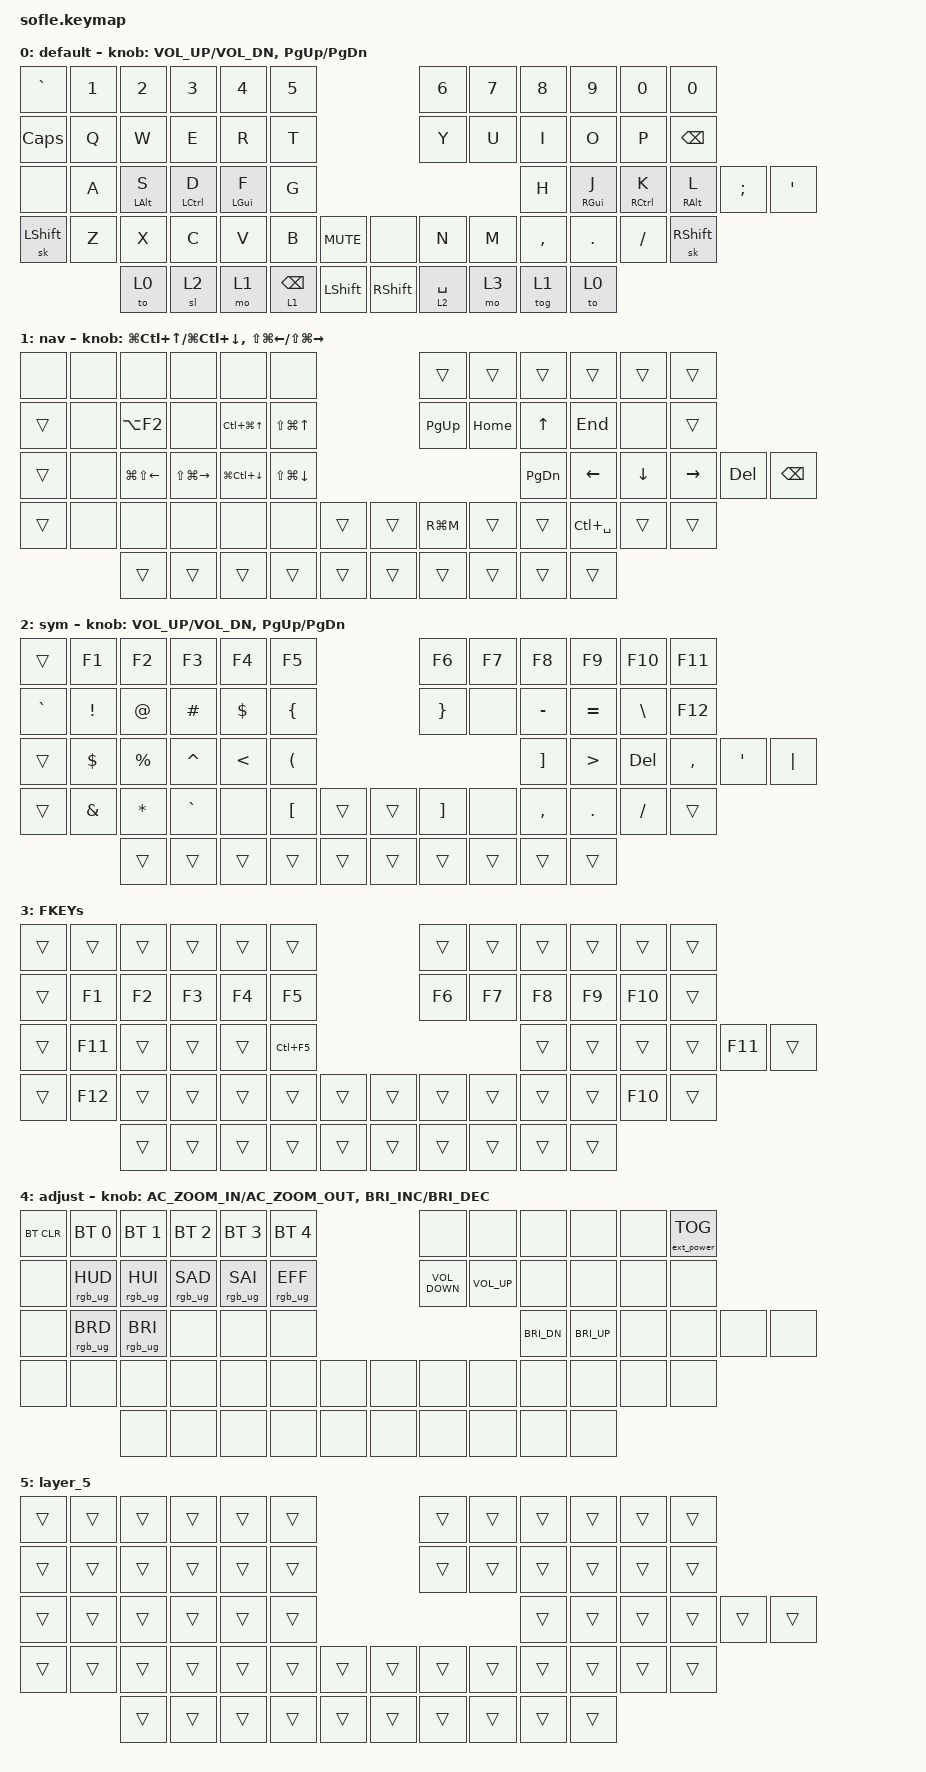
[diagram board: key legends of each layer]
/*
 * Copyright (c) 2020 The ZMK Contributors
 *
 * SPDX-License-Identifier: MIT
 */

#include <behaviors.dtsi>
#include <dt-bindings/zmk/bt.h>
#include <dt-bindings/zmk/ext_power.h>
#include <dt-bindings/zmk/keys.h>
#include <dt-bindings/zmk/rgb.h>

#define BASE 0
#define SYM 1
#define NAV 2
#define ADJUST 3
#define WMNAV 4
#define EXTRA2 5

/* Sofle key positions. Hold triggers are the opposite hand plus thumbs, so
 * same-hand rolls never fire a modifier. */
#define KEYS_L 0 1 2 3 4 5 12 13 14 15 16 17 24 25 26 27 28 29 36 37 38 39 40 41 42
#define KEYS_R 6 7 8 9 10 11 18 19 20 21 22 23 30 31 32 33 34 35 43 44 45 46 47 48 49
#define THUMBS 50 51 52 53 54 55 56 57 58 59

&lt {
    flavor = "balanced";
    tapping-term-ms = <200>;
    quick-tap-ms = <175>;
};

/ {
    behaviors {
        hml: hml {
            compatible = "zmk,behavior-hold-tap";
            #binding-cells = <2>;
            flavor = "balanced";
            tapping-term-ms = <280>;
            quick-tap-ms = <175>;
            require-prior-idle-ms = <150>;
            hold-trigger-key-positions = <KEYS_R THUMBS>;
            hold-trigger-on-release;
            bindings = <&kp>, <&kp>;
        };

        hmr: hmr {
            compatible = "zmk,behavior-hold-tap";
            #binding-cells = <2>;
            flavor = "balanced";
            tapping-term-ms = <280>;
            quick-tap-ms = <175>;
            require-prior-idle-ms = <150>;
            hold-trigger-key-positions = <KEYS_L THUMBS>;
            hold-trigger-on-release;
            bindings = <&kp>, <&kp>;
        };
    };

    // Activate ADJUST layer by pressing raise and lower

    conditional_layers {
        compatible = "zmk,conditional-layers";

        adjust_layer {
            if-layers = <2 1>;
            then-layer = <4>;
        };
    };

    combos {
        compatible = "zmk,combos";

        tabmod {
            bindings = <&kp TAB>;
            key-positions = <26 27 28>;
            timeout-ms = <200>;
        };

        entermod {
            bindings = <&kp ENTER>;
            key-positions = <31 32 33>;
            timeout-ms = <200>;
        };

        escapemod {
            bindings = <&kp ESCAPE>;
            key-positions = <14 15>;
            timeout-ms = <200>;
        };

        bkspcmod {
            bindings = <&kp BACKSPACE>;
            key-positions = <19 20 21>;
            timeout-ms = <200>;
        };
    };

    keymap {
        compatible = "zmk,keymap";

        default_layer {
            display-name = "default";

            // ------------------------------------------------------------------------------------------------------------
            // |   `   |  1  |  2  |  3   |  4   |  5   |                   |  6   |  7    |  8    |  9   |   0   |   0   |
            // |  ESC  |  Q  |  W  |  E   |  R   |  T   |                   |  Y   |  U    |  I    |  O   |   P   | BKSPC |
            // |  TAB  |  A  |  S  |  D   |  F   |  G   |                   |  H   |  J    |  K    |  L   |   ;   |   '   |
            // | SHIFT |  Z  |  X  |  C   |  V   |  B   |  MUTE  |  |       |  N   |  M    |  ,    |  .   |   /   | SHIFT |
            //               | GUI | ALT  | CTRL | LOWER|  ENTER |  | SPACE | RAISE| CTRL  | ALT   | GUI  |

            bindings = <
&kp GRAVE  &kp N1  &kp N2          &kp N3       &kp N4          &kp N5                                         &kp N6       &kp N7      &kp N8       &kp N9           &kp N0    &kp N0
&kp CAPS   &kp Q   &kp W           &kp E        &kp R           &kp T                                          &kp Y        &kp U       &kp I        &kp O            &kp P     &kp BSPC
&none      &kp A   &hml LEFT_ALT S     &hml LCTRL D     &hml LEFT_GUI F     &kp G                                          &kp H        &hmr RGUI J     &hmr RCTRL K     &hmr RIGHT_ALT L      &kp SEMI  &kp SQT
&sk LSHFT  &kp Z   &kp X           &kp C        &kp V           &kp B            &kp C_MUTE        &none       &kp N        &kp M       &kp COMMA    &kp DOT          &kp FSLH  &sk RSHFT
                   &to 0           &sl 2        &mo 1           &lt 1 BACKSPACE  &kp LEFT_SHIFT    &kp RSHIFT  &lt 2 SPACE  &mo 3       &tog 1       &to 0
            >;

            sensor-bindings = <&inc_dec_kp C_VOL_UP C_VOL_DN &inc_dec_kp PG_UP PG_DN>;
        };

        nav {
            display-name = "nav";

            // ------------------------------------------------------------------------------------------------------------
            // | BTCLR | BT1  | BT2  |  BT3  |  BT4  |  BT5 |                |      |      |       |      |       |       |
            // |       | INS  | PSCR | GUI   |       |      |                | PGUP |      |   ^   |      |       |       |
            // |       | ALT  | CTRL | SHIFT |       | CAPS |                | PGDN |   <- |   v   |  ->  |  DEL  | BKSPC |
            // |       | UNDO | CUT  | COPY  | PASTE |      |      |  |      |      |      |       |      |       |       |
            //                |      |       |       |      |      |  |      |      |      |       |      |

            bindings = <
&none   &none  &none             &none              &none                 &none                                   &trans     &trans    &trans    &trans         &trans   &trans
&trans  &none  &kp LA(F2)        &none              &kp LC(LG(UP_ARROW))  &kp LS(LG(UP_ARROW))                    &kp PG_UP  &kp HOME  &kp UP    &kp END        &none    &trans
&trans  &none  &kp LG(LS(LEFT))  &kp LS(LG(RIGHT))  &kp LG(LC(DOWN))      &kp LS(LG(DOWN))                        &kp PG_DN  &kp LEFT  &kp DOWN  &kp RIGHT      &kp DEL  &kp BSPC
&trans  &none  &none             &none              &none                 &none                 &trans    &trans  &kp RG(M)  &trans    &trans    &kp LC(SPACE)  &trans   &trans
               &trans            &trans             &trans                &trans                &trans    &trans  &trans     &trans    &trans    &trans
            >;

            sensor-bindings =
                <&inc_dec_kp LG(LC(UP_ARROW)) LG(LC(DOWN))>,
                <&inc_dec_kp LS(LG(LEFT_ARROW)) LS(LG(RIGHT))>;
        };

        sym {
            display-name = "sym";

            // TODO: Some binds are waiting for shifted keycode support.
            // ------------------------------------------------------------------------------------------------------------
            // |       |  F1 |  F2 |  F3  |  F4  |  F5  |                   |  F6  |  F7   |  F8   |  F9  |  F10  |  F11  |
            // |   `   |  1  |  2  |  3   |  4   |  5   |                   |  6   |  7    |  8    |  9   |   0   |  F12  |
            // |       |  !  |  @  |  #   |  $   |  %   |                   |  ^   |  &    |  *    |  (   |   )   |   |   |
            // |       |  =  |  -  |  +   |  {   |  }   |        |  |       |  [   |  ]    |  ;    |  :   |   \   |       |
            //               |     |      |      |      |        |  |       |      |       |       |      |

            bindings = <
&trans     &kp F1           &kp F2        &kp F3     &kp F4         &kp F5                                  &kp F6             &kp F7            &kp F8      &kp F9      &kp F10        &kp F11
&kp GRAVE  &kp EXCLAMATION  &kp AT_SIGN   &kp HASH   &kp DOLLAR     &kp LEFT_BRACE                          &kp RIGHT_BRACE    &none             &kp MINUS   &kp EQUAL   &kp BACKSLASH  &kp F12
&trans     &kp DOLLAR       &kp PERCENT   &kp CARET  &kp LESS_THAN  &kp LEFT_PARENTHESIS                    &kp RBKT           &kp GREATER_THAN  &kp DELETE  &kp COMMA   &kp SQT        &kp PIPE
&trans     &kp AMPERSAND    &kp ASTERISK  &kp GRAVE  &none          &kp LEFT_BRACKET      &trans    &trans  &kp RIGHT_BRACKET  &none             &kp COMMA   &kp PERIOD  &kp SLASH      &trans
                            &trans        &trans     &trans         &trans                &trans    &trans  &trans             &trans            &trans      &trans
            >;

            sensor-bindings = <&inc_dec_kp C_VOL_UP C_VOL_DN &inc_dec_kp PG_UP PG_DN>;
        };

        FKEYS {
            bindings = <
&trans  &trans   &trans  &trans  &trans  &trans                        &trans  &trans  &trans  &trans  &trans   &trans
&trans  &kp F1   &kp F2  &kp F3  &kp F4  &kp F5                        &kp F6  &kp F7  &kp F8  &kp F9  &kp F10  &trans
&trans  &kp F11  &trans  &trans  &trans  &kp LC(F5)                    &trans  &trans  &trans  &trans  &kp F11  &trans
&trans  &kp F12  &trans  &trans  &trans  &trans      &trans    &trans  &trans  &trans  &trans  &trans  &kp F10  &trans
                 &trans  &trans  &trans  &trans      &trans    &trans  &trans  &trans  &trans  &trans
            >;

            label = "FKEYs";
        };

        adjust_layer {
            // ----------------------------------------------------------------------------------------------------------------------------
            // | BTCLR  |  BT1    |  BT2    |   BT3   |   BT4   |   BT5   |                  |      |      |       |      |       |       |
            // | EXTPWR | RGB_HUD | RGB_HUI | RGB_SAD | RGB_SAI | RGB_EFF |                  |      |      |       |      |       |       |
            // |        | RGB_BRD | RGB_BRI |         |         |         |                  |      |      |       |      |       |       |
            // |        |         |         |         |         |         | RGB_TOG | |      |      |      |       |      |       |       |
            //                    |         |         |         |         |         | |      |      |      |       |      |

            display-name = "adjust";
            bindings = <
&bt BT_CLR  &bt BT_SEL 0     &bt BT_SEL 1     &bt BT_SEL 2     &bt BT_SEL 3     &bt BT_SEL 4                     &none              &none            &none  &none  &none  &ext_power EP_TOG
&none       &rgb_ug RGB_HUD  &rgb_ug RGB_HUI  &rgb_ug RGB_SAD  &rgb_ug RGB_SAI  &rgb_ug RGB_EFF                  &kp C_VOLUME_DOWN  &kp C_VOLUME_UP  &none  &none  &none  &none
&none       &rgb_ug RGB_BRD  &rgb_ug RGB_BRI  &none            &none            &none                            &kp C_BRI_DN       &kp C_BRI_UP     &none  &none  &none  &none
&none       &none            &none            &none            &none            &none            &none    &none  &none              &none            &none  &none  &none  &none
                             &none            &none            &none            &none            &none    &none  &none              &none            &none  &none
            >;

            sensor-bindings =
                <&inc_dec_kp C_AC_ZOOM_IN C_AC_ZOOM_OUT>,
                <&inc_dec_kp C_BRIGHTNESS_INC C_BRIGHTNESS_DEC>;
        };

        layer_5 {
            bindings = <
&trans  &trans  &trans  &trans  &trans  &trans                    &trans  &trans  &trans  &trans  &trans  &trans
&trans  &trans  &trans  &trans  &trans  &trans                    &trans  &trans  &trans  &trans  &trans  &trans
&trans  &trans  &trans  &trans  &trans  &trans                    &trans  &trans  &trans  &trans  &trans  &trans
&trans  &trans  &trans  &trans  &trans  &trans  &trans    &trans  &trans  &trans  &trans  &trans  &trans  &trans
                &trans  &trans  &trans  &trans  &trans    &trans  &trans  &trans  &trans  &trans
            >;
        };
    };
};
